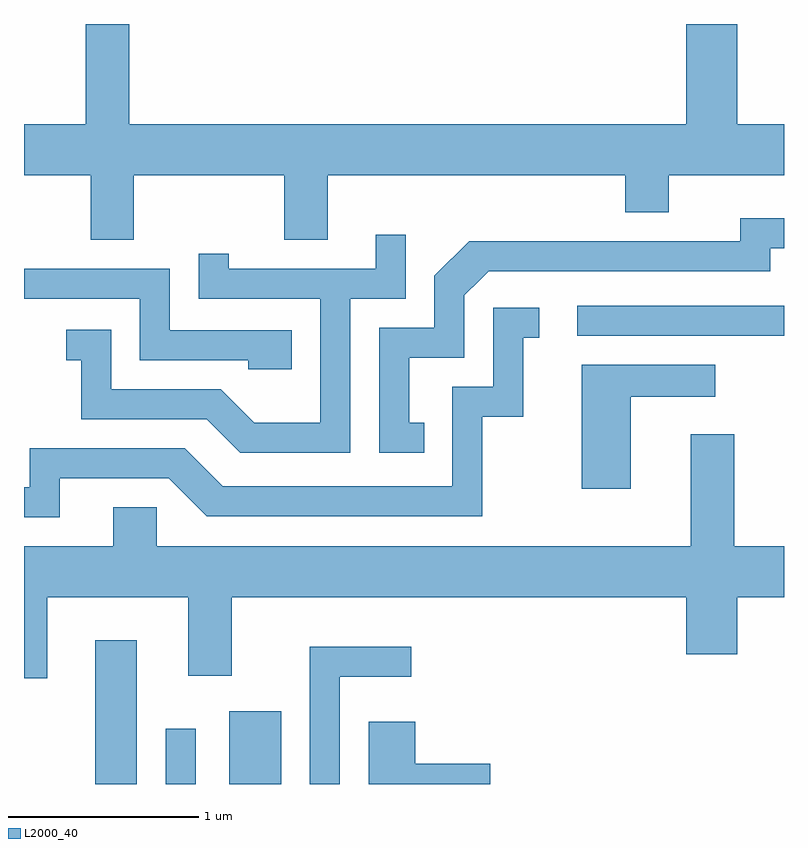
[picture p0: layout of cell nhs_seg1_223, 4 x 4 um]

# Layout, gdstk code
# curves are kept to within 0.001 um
import gdstk
lib = gdstk.Library(unit=1e-6, precision=1e-09)
def R(c, l, rs):  # rectangles x0, y0, x1, y1
    for r in rs: c.add(gdstk.rectangle(r[:2], r[2:], *l))
def P(c, l, *ps):  # polygons
    for p in ps: c.add(gdstk.Polygon(p, *l))
L2000_40 = (2000, 40)

nhs_seg1_223 = lib.new_cell('nhs_seg1_223')
R(nhs_seg1_223, L2000_40, [(191.986,889.712,192.204,890.469), (192.356,889.712,192.514,890.003), (192.691,889.712,192.964,890.094), (194.523,892.071,195.611,892.229)])
P(nhs_seg1_223, L2000_40, [(192.189,892.916),(192.981,892.916),(192.981,892.576),(193.209,892.576),(193.209,892.916),(194.776,892.916),(194.776,892.721),(195.004,892.721),(195.004,892.916),(195.611,892.916),(195.611,893.184),(195.364,893.184),(195.364,893.712),(195.096,893.712),(195.096,893.184),(192.164,893.184),(192.164,893.712),(191.936,893.712),(191.936,893.184),(191.611,893.184),(191.611,892.916),(191.961,892.916),(191.961,892.576),(192.189,892.576)],
  [(193.718,891.614),(193.639,891.614),(193.639,891.956),(193.929,891.956),(193.929,892.284),(194.057,892.411),(195.539,892.411),(195.539,892.531),(195.611,892.531),(195.611,892.689),(195.381,892.689),(195.381,892.569),(193.954,892.569),(193.771,892.387),(193.771,892.114),(193.481,892.114),(193.481,891.456),(193.718,891.456)],
  [(193.329,892.266),(193.619,892.266),(193.619,892.603),(193.461,892.603),(193.461,892.424),(192.689,892.424),(192.689,892.503),(192.531,892.503),(192.531,892.266),(193.171,892.266),(193.171,891.614),(192.822,891.614),(192.647,891.789),(192.069,891.789),(192.069,892.104),(191.833,892.104),(191.833,891.941),(191.911,891.941),(191.911,891.631),(192.574,891.631),(192.749,891.456),(193.329,891.456)],
  [(193.019,892.099),(192.379,892.099),(192.379,892.424),(191.611,892.424),(191.611,892.266),(192.221,892.266),(192.221,891.941),(192.791,891.941),(192.791,891.896),(193.019,891.896)],
  [(191.799,891.321),(192.374,891.321),(192.574,891.121),(194.024,891.121),(194.024,891.646),(194.239,891.646),(194.239,892.061),(194.323,892.061),(194.323,892.219),(194.081,892.219),(194.081,891.804),(193.866,891.804),(193.866,891.279),(192.657,891.279),(192.457,891.479),(191.641,891.479),(191.641,891.274),(191.611,891.274),(191.611,891.116),(191.799,891.116)],
  [(194.804,891.751),(195.248,891.751),(195.248,891.919),(194.546,891.919),(194.546,891.266),(194.804,891.266)],
  [(191.734,890.696),(192.476,890.696),(192.476,890.281),(192.704,890.281),(192.704,890.696),(195.096,890.696),(195.096,890.396),(195.364,890.396),(195.364,890.696),(195.611,890.696),(195.611,890.964),(195.349,890.964),(195.349,891.554),(195.121,891.554),(195.121,890.964),(192.309,890.964),(192.309,891.169),(192.081,891.169),(192.081,890.964),(191.611,890.964),(191.611,890.268),(191.734,890.268)],
  [(193.274,890.276),(193.648,890.276),(193.648,890.434),(193.116,890.434),(193.116,889.712),(193.274,889.712)],
  [(194.064,889.819),(193.669,889.819),(193.669,890.039),(193.426,890.039),(193.426,889.712),(194.064,889.712)])

lib.write_gds('nhs_seg1_223.gds')
